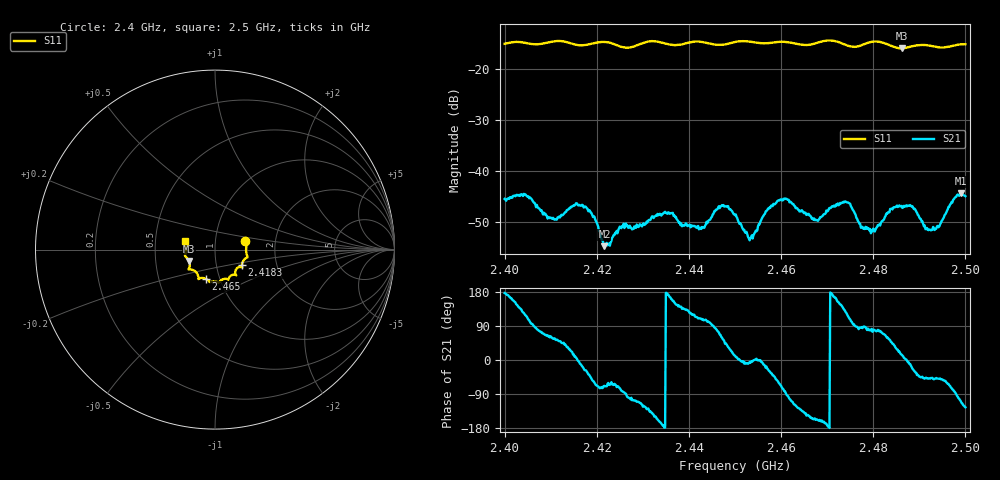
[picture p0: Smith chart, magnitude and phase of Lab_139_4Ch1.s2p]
# Hz S RI R 50
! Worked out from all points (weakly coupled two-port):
!   601 points, 2.4 GHz to 2.5 GHz, reference 50 ohm
!   highest |S21| = -44.47 dB at 2.499 GHz (marker M1); lowest = -54.8 dB at 2.4217 GHz (marker M2)
!   lowest |S11| = -16.0 dB at 2.4862 GHz (marker M3), VSWR 1.38, Z = 37.1 - j4.82 ohm
!   |S11| at or under -10 dB: start of sweep to end of sweep
!   S12 and S22 are empty: the file has one direction only
!   S11 on the Smith chart (normalised r, x): 2.4 GHz: 1.40, +0.13; 2.4183 GHz: 1.33, -0.24; 2.465 GHz: 0.86, -0.29; 2.5 GHz: 0.71, +0.07
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2.4e9  0.169 0.0457  -0.00528 0.000301  0 0  0 0
2.404667e9  0.177 0.0221  -0.00257 0.00514  0 0  0 0
2.410833e9  0.1811 -0.0388  0.00179 0.00278  0 0  0 0
2.416667e9  0.1547 -0.0682  0.00441 -0.00109  0 0  0 0
2.418333e9  0.15 -0.0866  0.0032 -0.00257  0 0  0 0
2.421667e9  0.1526 -0.1  0.000673 -0.00169  0 0  0 0
2.433333e9  0.1168 -0.1413  -0.00341 -0.00131  0 0  0 0
2.442667e9  0.073 -0.1677  -0.000859 0.00254  0 0  0 0
2.447e9  0.0435 -0.1653  0.00214 0.00394  0 0  0 0
2.45e9  0.0251 -0.1807  0.00359 0.000719  0 0  0 0
2.453333e9  0.0172 -0.1827  0.00216 -0.000277  0 0  0 0
2.4595e9  -0.0259 -0.1809  0.00251 -0.00448  0 0  0 0
2.465e9  -0.0526 -0.1623  -0.00285 -0.00254  0 0  0 0
2.466667e9  -0.0713 -0.1577  -0.00305 -0.00147  0 0  0 0
2.474333e9  -0.0972 -0.1379  -0.00248 0.00421  0 0  0 0
2.4775e9  -0.1274 -0.1123  0.000144 0.00278  0 0  0 0
2.48e9  -0.147 -0.1107  0.000531 0.00265  0 0  0 0
2.483333e9  -0.142 -0.0959  0.00222 0.00324  0 0  0 0
2.486167e9  -0.1447 -0.0634  0.00438 0.00109  0 0  0 0
2.492333e9  -0.1659 -0.0254  0.00173 -0.00199  0 0  0 0
2.499e9  -0.1677 0.0423  -0.00193 -0.00566  0 0  0 0
2.5e9  -0.1668 0.0472  -0.00321 -0.00462  0 0  0 0
